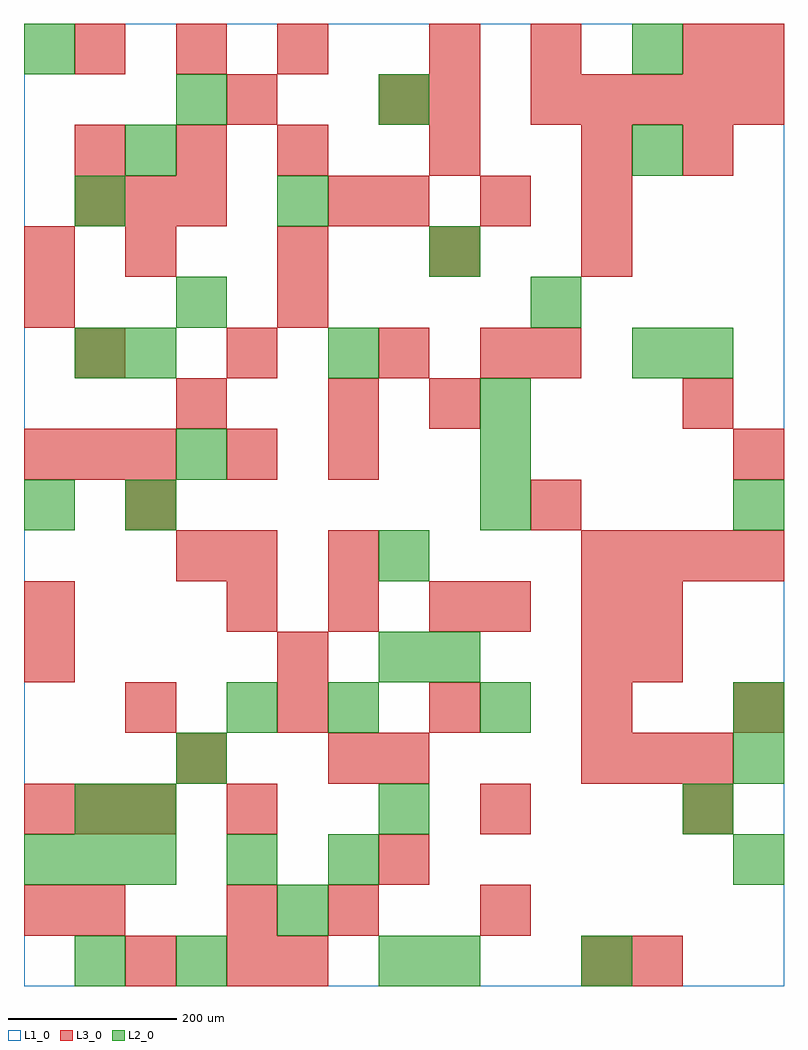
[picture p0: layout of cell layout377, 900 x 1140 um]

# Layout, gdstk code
import gdstk
lib = gdstk.Library(unit=1e-6, precision=1e-09)
def R(c, l, rs):  # rectangles x0, y0, x1, y1
    for r in rs: c.add(gdstk.rectangle(r[:2], r[2:], *l))
def A(c, l, x, y, w, h, nx, ny, dx, dy):  # array of equal rectangles
    R(c, l, [(x+i*dx, y+j*dy, x+i*dx+w, y+j*dy+h) for i in range(nx) for j in range(ny)])
L1_0 = (1, 0)
L2_0 = (2, 0)
L3_0 = (3, 0)

layout377 = lib.new_cell('layout377')
R(layout377, L1_0, [(0,0,900,1140)])
A(layout377, L2_0, 420, 0, 60, 60, 1, 3, 0, 180)
A(layout377, L2_0, 0, 120, 60, 60, 3, 1, 60, 0)
A(layout377, L2_0, 540, 540, 60, 60, 1, 3, 0, 60)
R(layout377, L2_0, [(60,0,120,60), (180,0,240,60), (480,0,540,60), (660,0,720,60), (300,60,360,120), (240,120,300,180), (360,120,420,180), (840,120,900,180), (60,180,120,240), (120,180,180,240), (780,180,840,240), (180,240,240,300), (840,240,900,300), (240,300,300,360), (360,300,420,360), (540,300,600,360), (840,300,900,360), (480,360,540,420), (420,480,480,540), (0,540,60,600), (120,540,180,600), (840,540,900,600), (180,600,240,660), (60,720,120,780), (120,720,180,780), (360,720,420,780), (720,720,780,780), (780,720,840,780), (180,780,240,840), (600,780,660,840), (480,840,540,900), (60,900,120,960), (300,900,360,960), (120,960,180,1020), (720,960,780,1020), (180,1020,240,1080), (420,1020,480,1080), (0,1080,60,1140), (720,1080,780,1140)])
A(layout377, L3_0, 0, 180, 60, 60, 3, 2, 60, 420)
A(layout377, L3_0, 660, 240, 60, 60, 3, 1, 60, 0)
A(layout377, L3_0, 120, 300, 60, 60, 5, 1, 180, 0)
A(layout377, L3_0, 240, 420, 60, 60, 3, 1, 120, 0)
A(layout377, L3_0, 660, 480, 60, 60, 4, 1, 60, 0)
A(layout377, L3_0, 60, 720, 60, 60, 3, 1, 180, 0)
A(layout377, L3_0, 120, 840, 60, 60, 4, 1, 180, 0)
A(layout377, L3_0, 60, 900, 60, 60, 3, 1, 60, 0)
A(layout377, L3_0, 420, 900, 60, 60, 3, 1, 120, 0)
A(layout377, L3_0, 60, 960, 60, 60, 3, 2, 120, 120)
A(layout377, L3_0, 480, 960, 60, 60, 1, 3, 0, 60)
A(layout377, L3_0, 600, 1020, 60, 60, 5, 1, 60, 0)
R(layout377, L3_0, [(120,0,180,60), (240,0,300,60), (300,0,360,60), (660,0,720,60), (720,0,780,60), (0,60,60,120), (60,60,120,120), (240,60,300,120), (360,60,420,120), (540,60,600,120), (420,120,480,180), (240,180,300,240), (540,180,600,240), (780,180,840,240), (180,240,240,300), (360,240,420,300), (420,240,480,300), (0,360,60,420), (300,360,360,420), (660,360,720,420), (720,360,780,420), (0,420,60,480), (540,420,600,480), (660,420,720,480), (720,420,780,480), (180,480,240,540), (240,480,300,540), (360,480,420,540), (120,540,180,600), (600,540,660,600), (240,600,300,660), (360,600,420,660), (840,600,900,660), (180,660,240,720), (360,660,420,720), (480,660,540,720), (780,660,840,720), (540,720,600,780), (600,720,660,780), (0,780,60,840), (300,780,360,840), (0,840,60,900), (360,900,420,960), (660,960,720,1020), (780,960,840,1020), (240,1020,300,1080), (420,1020,480,1080), (600,1080,660,1140), (780,1080,840,1140), (840,1080,900,1140)])

lib.write_gds('layout377.gds')
